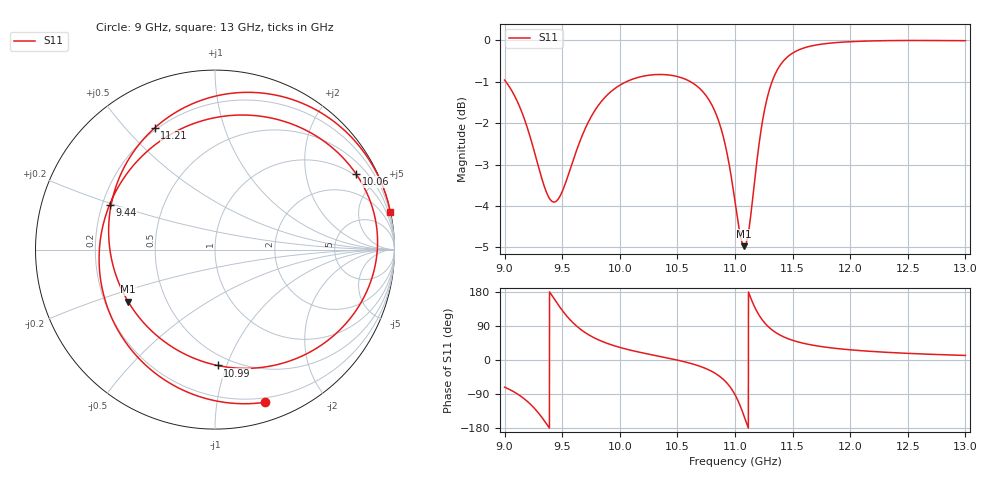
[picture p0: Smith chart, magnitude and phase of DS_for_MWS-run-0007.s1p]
! TOUCHSTONE file generated by CST DESIGN STUDIO
! Date and time: Tue Feb  4 14:35:50 2025
! Project name: C:\Work\MatlabApps\UnitCellOptimizationMatlab\CST\unitcell.cst
! Tree item: Tasks\Sweep1\SPara1\S-Parameters
! Header version: 2024
! Port assignment regex: !\s*Touchstone port\s*([0-9]+)\s*=\s*(CST MWS port|CST DES external port|CST DES block port)\s*(.+)\s* \(\"(.*)\"\)(\s*mode\s*([0-9]+))?.*
! Touchstone port assignment:
! Touchstone port 1 = CST DES external port 1 ("")
# GHz S MA R 50
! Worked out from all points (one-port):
!   4001 points, 9 GHz to 13 GHz, reference 50 ohm
!   lowest |S11| = -5.0 dB at 11.08 GHz (marker M1), VSWR 3.59, Z = 14.9 - j12.7 ohm
!   |S11| at or under -10 dB: nowhere
!   S11 on the Smith chart (normalised r, x): 9 GHz: 0.16, -1.37; 9.44 GHz: 0.23, +0.19; 10.06 GHz: 0.91, +3.76; 10.99 GHz: 0.42, -0.93; 11.21 GHz: 0.19, +0.60; 13 GHz: 0.05, +9.47
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9  0.8954 -71.8
9.127  0.8337 -92.7
9.224  0.7626 -116.7
9.343  0.6671 -159.5
9.44  0.6383 156.9
9.5  0.6567 131.1
9.581  0.7066 102.1
9.672  0.7663 78.1
9.821  0.8371 52.3
10  0.8826 33.2
10.061  0.8918 28.3
10.5  0.9041 -0.2
10.683  0.8774 -15.3
10.812  0.8286 -32.3
10.909  0.7542 -54.1
10.995  0.6457 -88.7
11  0.6387 -91.5
11.04  0.5874 -117.2
11.08  0.5642 -149.1
11.141  0.6217 160.4
11.213  0.7568 116.3
11.312  0.8835 81.7
11.398  0.9356 64.6
11.5  0.965 51.9
11.698  0.9867 37.9
12  0.9961 26.9
12.5  0.9996 17.5
13  0.9989 12.1
